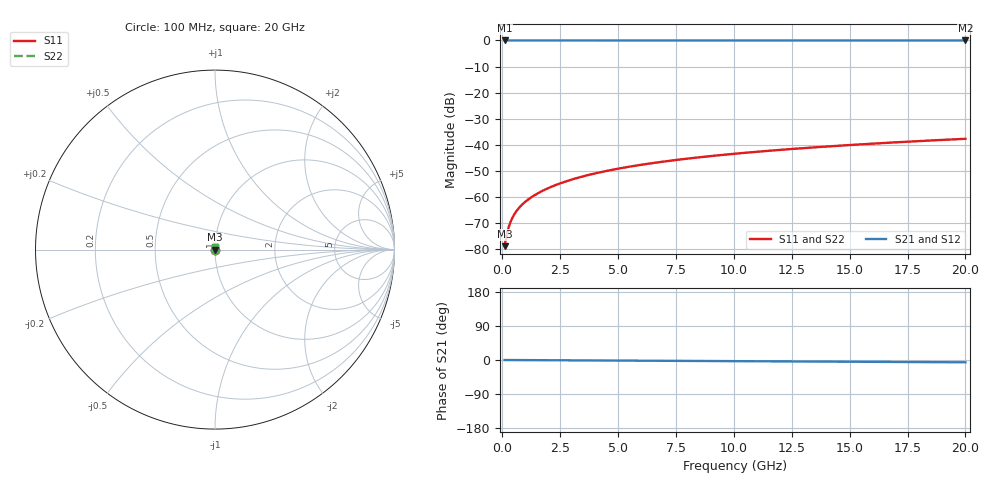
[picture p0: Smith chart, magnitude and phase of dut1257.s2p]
! Touchstone file exported from HFSS 2026.1.0
!  File:  C:/ffzhzh/LocalFiles/Ansys_Project_Files/temp_train_TSV_1257_1783193801_22436.aedt
!  Generated:  03:38:02 AM Jul  5, 2026
!  Design:  TSV
!  Project:  temp_train_TSV_1257_1783193801_22436
! Variables:
!  h_bsmrdl = 2um
!  h_ox = 20um
!  h_rdl = 5um
!  h_sub = 53.84um
!  h_tmrdl = 5um
!  h_tsv = 53.84um
!  h_via = 3um
!  l_bsmrdl = 300um
!  l_sub = 425.86um
!  l_tmrdl = 200um
!  m_sub = 200um
!  pitch = 57.99um
!  r_tsv = 12.93um
!  s_tmrdl = 10um
!  w_bsmrdl = 18um
!  w_sub = 500um
!  w_tmrdl = 12um
!  x_tsv_center1 = 206um
!  x_tsv_center2 = 524um
!  x_tsv_center3 = 736um
!  x_tsv_center4 = 1054um
!  x_tsv_center5 = 1266um
!  x_tsv_center6 = 1584um
# GHz S MA R 50.000000
! Terminal data exported
! Port[1] = TSV1_1_T1
! Port[2] = TSV1_1_T2
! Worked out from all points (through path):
!   200 points, 100 MHz to 20 GHz, reference 50 ohm
!   highest |S21| = 0.00 dB at 100 MHz (marker M1); lowest = 0.0 dB at 20 GHz (marker M2)
!   lowest |S11| = -78.8 dB at 100 MHz (marker M3), VSWR 1.00, Z = 50 + j0.00936 ohm
!   |S11| at or under -10 dB: start of sweep to end of sweep
!   |S22| runs from -78.8 to -37.7 dB; largest |S21 - S12| = 2e-15
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0.1  0.0001144 54.9  0.9999 -0.0  0.9999 -0.0  0.0001144 54.9
! Gamma 0 0 0 0
! Port Impedance 50 0 50 0
0.2  0.0001995 68.1  0.9999 -0.1  0.9999 -0.1  0.0001995 68.1
0.3  0.0002865 72.3  0.9999 -0.1  0.9999 -0.1  0.0002865 72.3
0.4  0.000371 74.0  0.9999 -0.1  0.9999 -0.1  0.000371 74.0
0.5  0.0004518 74.8  0.9999 -0.2  0.9999 -0.2  0.0004518 74.8
0.6  0.0005292 75.3  0.9999 -0.2  0.9999 -0.2  0.0005292 75.3
0.7  0.0006038 75.7  0.9999 -0.2  0.9999 -0.2  0.0006038 75.7
0.9  0.0007467 76.4  0.9998 -0.3  0.9998 -0.3  0.0007467 76.4
1.1  0.0008847 77.1  0.9998 -0.3  0.9998 -0.3  0.0008847 77.1
1.3  0.00102 77.8  0.9998 -0.4  0.9998 -0.4  0.00102 77.8
1.6  0.001222 78.7  0.9998 -0.5  0.9998 -0.5  0.001222 78.7
1.9  0.001424 79.5  0.9998 -0.6  0.9998 -0.6  0.001424 79.5
2.6  0.001895 80.7  0.9997 -0.8  0.9997 -0.8  0.001895 80.7
3.5  0.002499 81.6  0.9997 -1.1  0.9997 -1.1  0.002499 81.6
4.2  0.002965 82.0  0.9996 -1.3  0.9996 -1.3  0.002965 82.0
5  0.003494 82.2  0.9996 -1.5  0.9996 -1.5  0.003494 82.2
6.8  0.00467 82.4  0.9995 -2.1  0.9995 -2.1  0.00467 82.4
8.3  0.005639 82.4  0.9995 -2.5  0.9995 -2.5  0.005639 82.4
10.1  0.006795 82.3  0.9994 -3.1  0.9994 -3.1  0.006795 82.3
13.4  0.0089 81.9  0.9993 -4.1  0.9993 -4.1  0.0089 81.9
16.7  0.01099 81.3  0.9992 -5.1  0.9992 -5.1  0.01099 81.3
20  0.01305 80.5  0.9991 -6.1  0.9991 -6.1  0.01305 80.5
